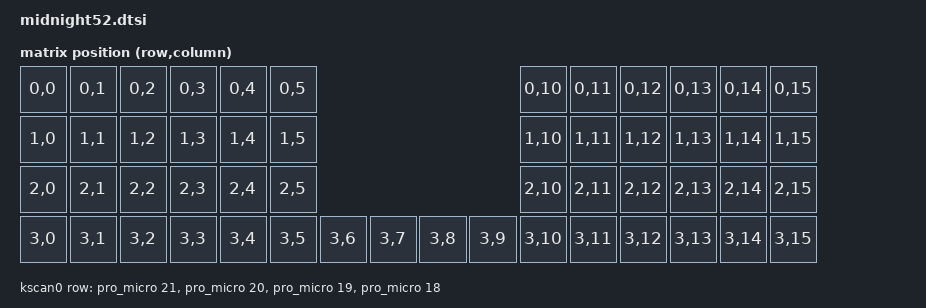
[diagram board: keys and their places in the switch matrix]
// SPDX-License-Identifier: MIT

#include <dt-bindings/zmk/matrix_transform.h>

/ {
    chosen {
        zmk,kscan = &kscan0;
        zmk,matrix-transform = &default_transform;
    };

    /*
     * Matrix transform for midnight52
     * 4 rows x 8 cols per side = 16 cols total (left=0-7, right=8-15)
     * Dead switches: RC(0,6), RC(0,7), RC(1,6), RC(1,7), RC(2,6), RC(2,7)
     *                RC(0,14), RC(0,15), RC(1,14), RC(1,15), RC(2,14), RC(2,15)
     *
     * Key positions (52 total):
     *  0  1  2  3  4  5                    6  7  8  9  10 11
     * 12 13 14 15 16 17                   18 19 20 21 22 23
     * 24 25 26 27 28 29                   30 31 32 33 34 35
     * 36 37 38 39 40 41 42 43    44 45 46 47 48 49 50 51
     */
    default_transform: keymap_transform_0 {
        compatible = "zmk,matrix-transform";
        columns = <16>;
        rows = <4>;
        map = <
            RC(0,0) RC(0,1) RC(0,2) RC(0,3) RC(0,4) RC(0,5)                                     RC(0,10) RC(0,11) RC(0,12) RC(0,13) RC(0,14) RC(0,15)
            RC(1,0) RC(1,1) RC(1,2) RC(1,3) RC(1,4) RC(1,5)                                     RC(1,10) RC(1,11) RC(1,12) RC(1,13) RC(1,14) RC(1,15)
            RC(2,0) RC(2,1) RC(2,2) RC(2,3) RC(2,4) RC(2,5)                                     RC(2,10) RC(2,11) RC(2,12) RC(2,13) RC(2,14) RC(2,15)
            RC(3,0) RC(3,1) RC(3,2) RC(3,3) RC(3,4) RC(3,5) RC(3,6) RC(3,7)  RC(3,8) RC(3,9) RC(3,10) RC(3,11) RC(3,12) RC(3,13) RC(3,14) RC(3,15)
        >;
    };

    kscan0: kscan {
        compatible = "zmk,kscan-gpio-matrix";
        wakeup-source;
        diode-direction = "col2row";

        /*
         * Using &pro_micro pin numbers (Arduino labels on the board silkscreen).
         * Rows are outputs (GPIO_ACTIVE_HIGH, no pull).
         * pro_micro 21 = P0.31, 20 = P0.29, 19 = P0.02, 18 = P1.15
         */
        row-gpios
            = <&pro_micro 21 GPIO_ACTIVE_HIGH>   /* Row 1 - D21 */
            , <&pro_micro 20 GPIO_ACTIVE_HIGH>   /* Row 2 - D20 */
            , <&pro_micro 19 GPIO_ACTIVE_HIGH>   /* Row 3 - D19 */
            , <&pro_micro 18 GPIO_ACTIVE_HIGH>   /* Row 4 - D18 */
            ;
    };
};
